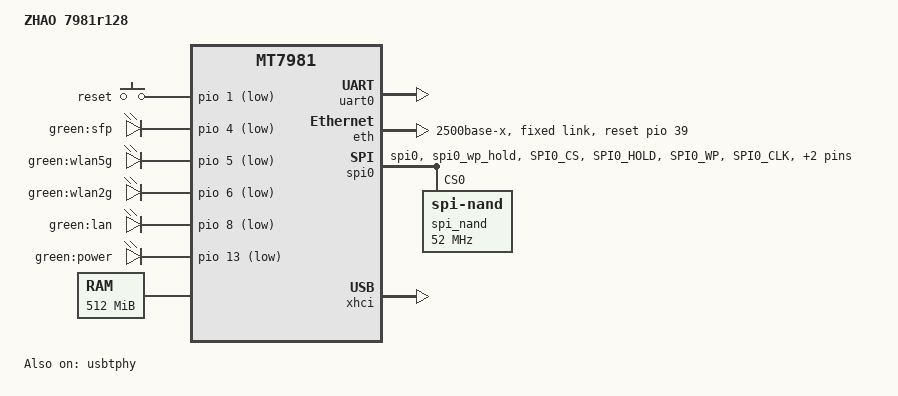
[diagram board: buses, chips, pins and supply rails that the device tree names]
// SPDX-License-Identifier: GPL-2.0-or-later OR MIT

/dts-v1/;
#include "mt7981.dtsi"
#include <dt-bindings/gpio/gpio.h>

/ {
	#address-cells = <1>;
	#size-cells = <1>;
	model = "ZHAO 7981r128";
	compatible = "mediatek,mt7981", "mediatek,mt7981-rfb";

	chosen {
		stdout-path = &uart0;
		tick-timer = &timer0;
	};

	config {
		bootcmd = "mtkboardboot";
		blink_led = "green:power";
		system_led = "green:power";
	};

	mtd-layout {
		layout@0 {
			label = "default";
			mtdids = "nmbm0=nmbm0";
			mtdparts = "nmbm0:1024k(bl2),512k(u-boot-env),2048k(factory),2048k(fip),114M(ubi)";
		};
	};

	gpio-keys {
		compatible = "gpio-keys";

		button-reset {
			label = "reset";
			linux,code = <KEY_RESTART>;
			gpios = <&pio 1 GPIO_ACTIVE_LOW>;
		};
	};

	leds {
		compatible = "gpio-leds";

		led-sfp {
			label = "green:sfp";
			gpios = <&pio 4 GPIO_ACTIVE_LOW>;
		};

		led-wlan5g {
			label = "green:wlan5g";
			gpios = <&pio 5 GPIO_ACTIVE_LOW>;
		};

		led-wlan2g {
			label = "green:wlan2g";
			gpios = <&pio 6 GPIO_ACTIVE_LOW>;
		};

		led-lan {
			label = "green:lan";
			gpios = <&pio 8 GPIO_ACTIVE_LOW>;
		};

		led-power {
			label = "green:power";
			gpios = <&pio 13 GPIO_ACTIVE_LOW>;
			default-state = "on";
		};
	};

	memory@40000000 {
		device_type = "memory";
		reg = <0x40000000 0x20000000>;
	};

	bl2_verify {
		bl2_compatible = "spim-nand";
	};
};

&uart0 {
	status = "okay";
};

&eth {
	status = "okay";
	mediatek,gmac-id = <0>;
	phy-mode = "2500base-x";
	mediatek,switch = "auto";
	reset-gpios = <&pio 39 GPIO_ACTIVE_HIGH>;

	fixed-link {
		speed = <2500>;
		full-duplex;
	};
};

&pio {
	spi_flash_pins: spi0-pins-func-1 {
		mux {
			function = "flash";
			groups = "spi0", "spi0_wp_hold";
		};

		conf-pu {
			pins = "SPI0_CS", "SPI0_HOLD", "SPI0_WP";
			drive-strength = <MTK_DRIVE_8mA>;
			bias-pull-up = <MTK_PUPD_SET_R1R0_11>;
		};

		conf-pd {
			pins = "SPI0_CLK", "SPI0_MOSI", "SPI0_MISO";
			drive-strength = <MTK_DRIVE_8mA>;
			bias-pull-down = <MTK_PUPD_SET_R1R0_11>;
		};
	};
};

&spi0 {
	#address-cells = <1>;
	#size-cells = <0>;
	pinctrl-names = "default";
	pinctrl-0 = <&spi_flash_pins>;
	status = "okay";
	must_tx;
	enhance_timing;
	dma_ext;
	ipm_design;
	support_quad;
	tick_dly = <2>;
	sample_sel = <0>;

	spi_nand@0 {
		compatible = "spi-nand";
		reg = <0>;
		spi-max-frequency = <52000000>;
	};
};

&usbtphy {
	status = "okay";
};

&watchdog {
	status = "disabled";
};

&xhci {
	status = "okay";
};
